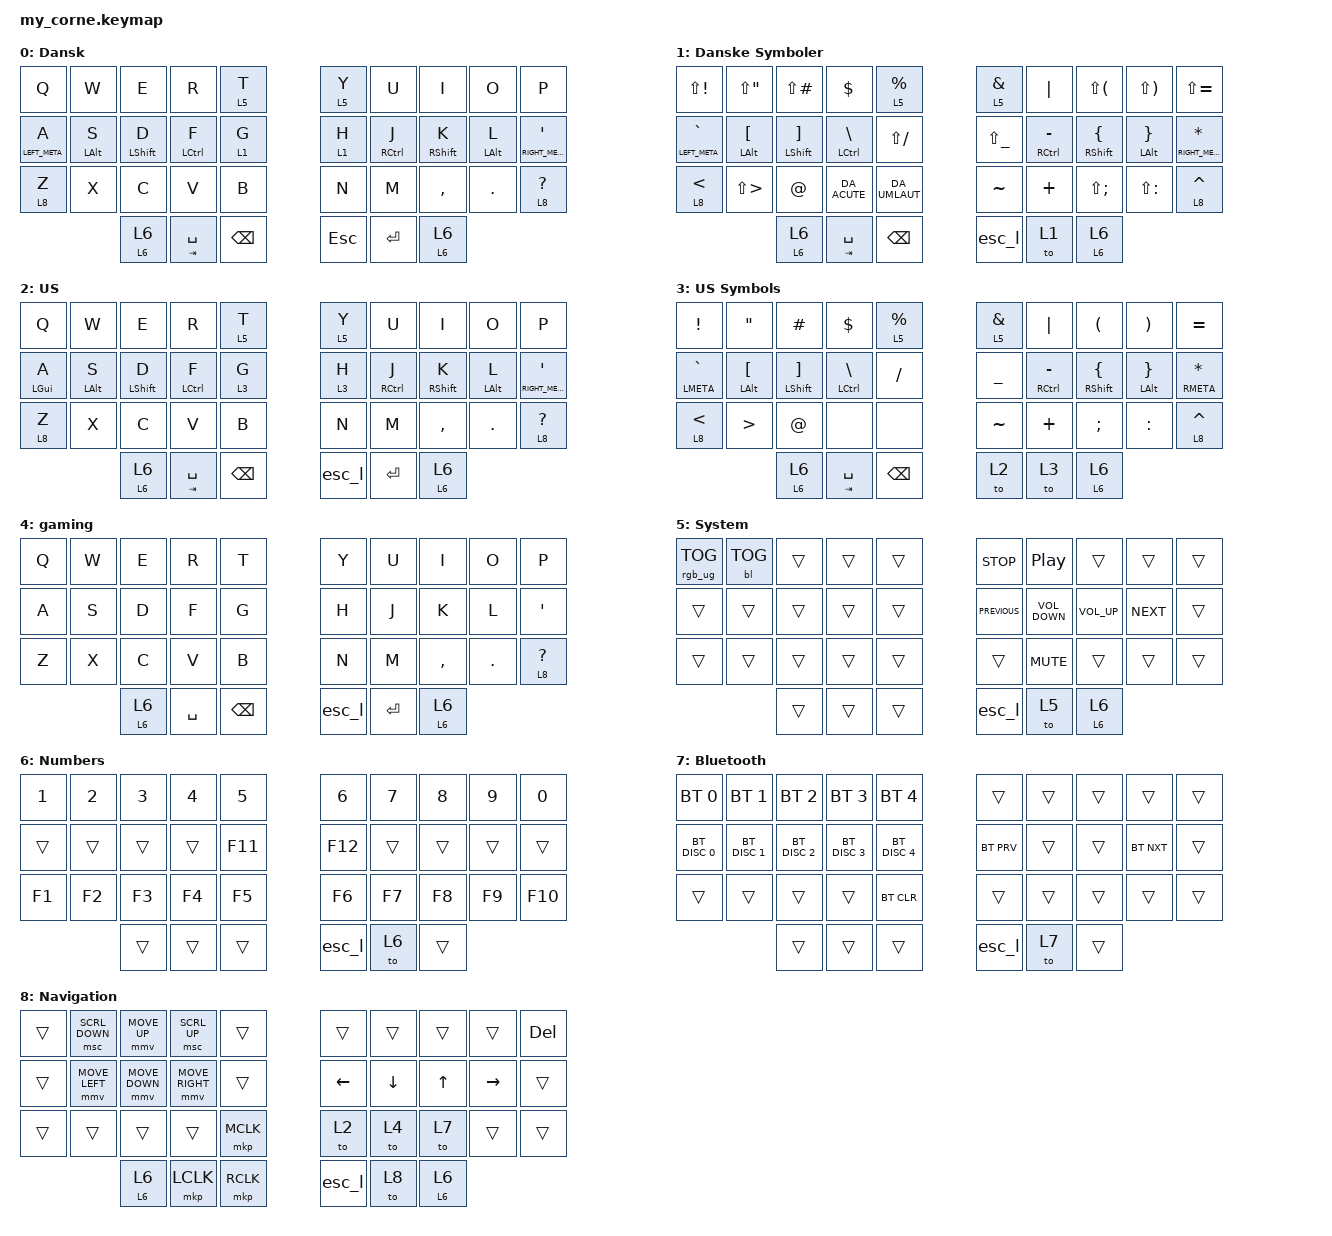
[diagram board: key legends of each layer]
#include <behaviors.dtsi>
#include <dt-bindings/zmk/backlight.h>
#include <dt-bindings/zmk/bt.h>
#include <dt-bindings/zmk/keys.h>
#include <dt-bindings/zmk/pointing.h>
#include <dt-bindings/zmk/rgb.h>
#include "keys_da.h"

/ {
    chosen { zmk,physical-layout = &default_layout; };
};

/ {
    combos {
        compatible = "zmk,combos";

        combo_ae {
            bindings = <&kp E>;
            key-positions = <10 2>;
            layers = <0>;
        };

        combo_ao {
            bindings = <&kp A>;
            key-positions = <10 8>;
            layers = <0>;
        };

        combo_eo {
            bindings = <&kp O>;
            key-positions = <2 8>;
            layers = <0>;
        };
    };

    behaviors {
        osl: osl {
            compatible = "zmk,behavior-hold-tap";
            label = "OSL";
            bindings = <&mo>, <&sl>;

            #binding-cells = <2>;
            flavor = "tap-preferred";
            tapping-term-ms = <200>;
        };

        esc_l: esc_l {
            compatible = "zmk,behavior-tap-dance";
            label = "ESC_L";
            #binding-cells = <0>;
            bindings = <&kp ESC>, <&to 0>;

            tapping-term-ms = <200>;
        };
    };

    keymap {
        compatible = "zmk,keymap";

        DK {
            bindings = <
  &kp Q            &kp W           &kp E             &kp R          &lt 5 T       &lt 5 Y  &kp U        &kp I              &kp O           &kp P
  &mt LEFT_META A  &mt LEFT_ALT S  &mt LEFT_SHIFT D  &mt LCTRL F    &lt 1 G       &lt 1 H  &mt RCTRL J  &mt RIGHT_SHIFT K  &mt LEFT_ALT L  &mt RIGHT_META SQT
  &lt 8 Z          &kp X           &kp C             &kp V          &kp B         &kp N    &kp M        &kp COMMA          &kp DOT         &lt 8 QMARK
                                   &osl 6 6          &mt TAB SPACE  &kp BSPC      &kp ESC  &kp RET      &osl 6 6
            >;

            label = "Dansk";
        };

        DK_Sym {
            bindings = <
  &kp LS(EXCL)         &kp LS(DQT)        &kp LS(POUND)        &kp DLLR        &lt 5 PRCNT        &lt 5 AMPS     &kp PIPE         &kp LS(LPAR)     &kp LS(RPAR)       &kp LS(EQUAL)
  &mt LEFT_META GRAVE  &mt LEFT_ALT LBKT  &mt LEFT_SHIFT RBKT  &mt LCTRL BSLH  &kp LS(FSLH)       &kp LS(UNDER)  &mt RCTRL MINUS  &mt RSHIFT LBRC  &mt LEFT_ALT RBRC  &mt RIGHT_META STAR
  &lt 8 LT             &kp LS(GT)         &kp AT               &kp DA_ACUTE    &kp DA_UMLAUT      &kp TILDE      &kp PLUS         &kp LS(SEMI)     &kp LS(COLON)      &lt 8 CARET
                                          &osl 6 6             &mt TAB SPACE   &kp BSPC           &esc_l         &to 1            &osl 6 6
            >;

            label = "Danske Symboler";
        };

        US {
            bindings = <
  &kp Q       &kp W           &kp E         &kp R          &lt 5 T       &lt 5 Y  &kp U        &kp I         &kp O           &kp P
  &mt LGUI A  &mt LEFT_ALT S  &mt LSHIFT D  &mt LCTRL F    &lt 3 G       &lt 3 H  &mt RCTRL J  &mt RSHIFT K  &mt LEFT_ALT L  &mt RIGHT_META SQT
  &lt 8 Z     &kp X           &kp C         &kp V          &kp B         &kp N    &kp M        &kp COMMA     &kp DOT         &lt 8 QUESTION
                              &osl 6 6      &mt TAB SPACE  &kp BSPC      &esc_l   &kp RET      &osl 6 6
            >;

            label = "US";
        };

        US_Sym {
            bindings = <
  &kp EXCLAMATION  &kp DOUBLE_QUOTES  &kp POUND        &kp DLLR        &lt 5 PERCENT      &lt 5 AMPERSAND  &kp PIPE         &kp LEFT_PARENTHESIS   &kp RIGHT_PARENTHESIS     &kp EQUAL
  &mt LMETA GRAVE  &mt LEFT_ALT LBKT  &mt LSHIFT RBKT  &mt LCTRL BSLH  &kp SLASH          &kp UNDERSCORE   &mt RCTRL MINUS  &mt RSHIFT LEFT_BRACE  &mt LEFT_ALT RIGHT_BRACE  &mt RMETA ASTERISK
  &lt 8 LESS_THAN  &kp GREATER_THAN   &kp AT           &none           &none              &kp TILDE        &kp PLUS         &kp SEMICOLON          &kp COLON                 &lt 8 CARET
                                      &osl 6 6         &mt TAB SPACE   &kp BACKSPACE      &to 2            &to 3            &osl 6 6
            >;

            label = "US Symbols";
        };

        Gaming {
            bindings = <
  &kp Q  &kp W  &kp E     &kp R      &kp T         &kp Y   &kp U    &kp I      &kp O    &kp P
  &kp A  &kp S  &kp D     &kp F      &kp G         &kp H   &kp J    &kp K      &kp L    &kp SQT
  &kp Z  &kp X  &kp C     &kp V      &kp B         &kp N   &kp M    &kp COMMA  &kp DOT  &lt 8 QUESTION
                &osl 6 6  &kp SPACE  &kp BSPC      &esc_l  &kp RET  &osl 6 6
            >;

            label = "gaming";
        };

        Sys {
            bindings = <
  &rgb_ug RGB_TOG  &bl BL_TOG  &trans  &trans  &trans      &kp C_STOP      &kp C_PLAY_PAUSE   &trans           &trans      &trans
  &trans           &trans      &trans  &trans  &trans      &kp C_PREVIOUS  &kp C_VOLUME_DOWN  &kp C_VOLUME_UP  &kp C_NEXT  &trans
  &trans           &trans      &trans  &trans  &trans      &trans          &kp K_MUTE         &trans           &trans      &trans
                               &trans  &trans  &trans      &esc_l          &to 5              &osl 6 6
            >;

            label = "System";
        };

        Num {
            bindings = <
  &kp N1  &kp N2  &kp N3  &kp N4  &kp N5       &kp N6   &kp N7  &kp N8  &kp N9  &kp N0
  &trans  &trans  &trans  &trans  &kp F11      &kp F12  &trans  &trans  &trans  &trans
  &kp F1  &kp F2  &kp F3  &kp F4  &kp F5       &kp F6   &kp F7  &kp F8  &kp F9  &kp F10
                  &trans  &trans  &trans       &esc_l   &to 6   &trans
            >;

            label = "Numbers";
        };

        BT {
            bindings = <
  &bt BT_SEL 0   &bt BT_SEL 1   &bt BT_SEL 2   &bt BT_SEL 3   &bt BT_SEL 4       &trans      &trans  &trans  &trans      &trans
  &bt BT_DISC 0  &bt BT_DISC 1  &bt BT_DISC 2  &bt BT_DISC 3  &bt BT_DISC 4      &bt BT_PRV  &trans  &trans  &bt BT_NXT  &trans
  &trans         &trans         &trans         &trans         &bt BT_CLR         &trans      &trans  &trans  &trans      &trans
                                &trans         &trans         &trans             &esc_l      &to 7   &trans
            >;

            label = "Bluetooth";
        };

        Nav {
            bindings = <
  &trans  &msc SCRL_DOWN  &mmv MOVE_UP    &msc SCRL_UP     &trans         &trans          &trans          &trans        &trans           &kp DELETE
  &trans  &mmv MOVE_LEFT  &mmv MOVE_DOWN  &mmv MOVE_RIGHT  &trans         &kp LEFT_ARROW  &kp DOWN_ARROW  &kp UP_ARROW  &kp RIGHT_ARROW  &trans
  &trans  &trans          &trans          &trans           &mkp MCLK      &to 2           &to 4           &to 7         &trans           &trans
                          &osl 6 6        &mkp LCLK        &mkp RCLK      &esc_l          &to 8           &osl 6 6
            >;

            label = "Navigation";
        };
    };
};
